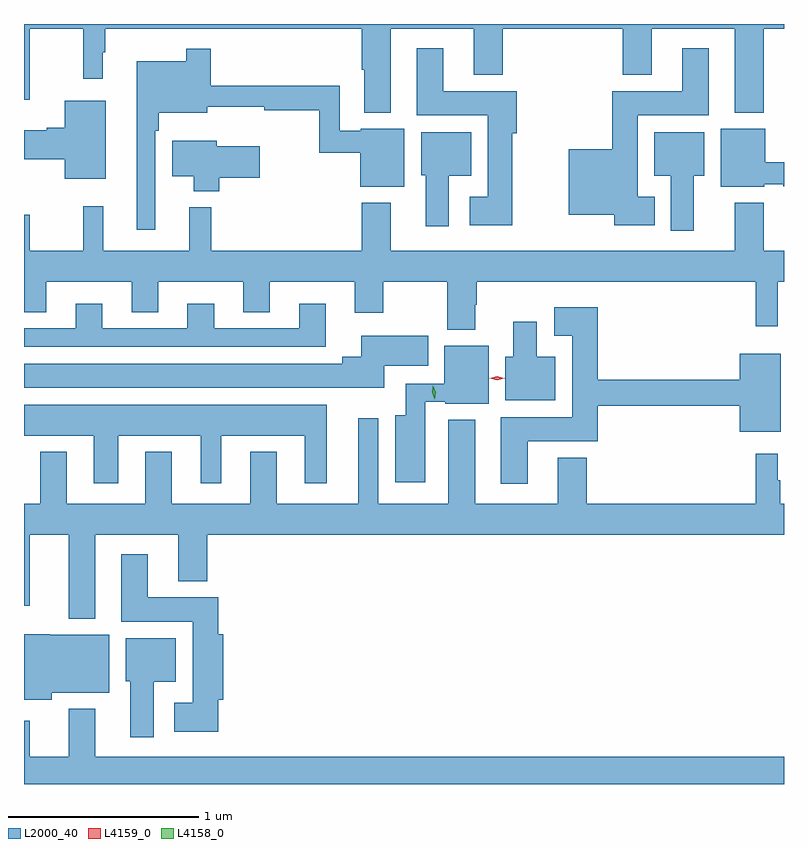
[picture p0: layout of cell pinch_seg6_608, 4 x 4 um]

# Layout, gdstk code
import gdstk
lib = gdstk.Library(unit=1e-6, precision=1e-09)
def P(c, l, *ps):  # polygons
    for p in ps: c.add(gdstk.Polygon(p, *l))
L2000_40 = (2000, 40)
L4158_0 = (4158, 0)
L4159_0 = (4159, 0)

pinch_seg6_608 = lib.new_cell('pinch_seg6_608')
P(pinch_seg6_608, L2000_40, [(488.817,972.27),(488.848,972.27),(488.848,972.644),(489.13,972.644),(489.13,972.381),(489.232,972.381),(489.232,972.521),(489.244,972.521),(489.244,972.644),(490.595,972.644),(490.595,972.427),(490.607,972.427),(490.607,972.203),(490.747,972.203),(490.747,972.644),(491.183,972.644),(491.183,972.401),(491.336,972.401),(491.336,972.644),(491.969,972.644),(491.969,972.401),(492.121,972.401),(492.121,972.644),(492.557,972.644),(492.557,972.203),(492.71,972.203),(492.71,972.644),(492.817,972.644),(492.817,972.669),(488.817,972.669)],
  [(492.136,971.761),(492.046,971.761),(492.046,972.188),(492.421,972.188),(492.421,972.541),(492.281,972.541),(492.281,972.316),(491.912,972.316),(491.912,972.01),(491.684,972.01),(491.684,971.666),(491.924,971.666),(491.924,971.609),(492.136,971.609)],
  [(491.388,972.095),(491.411,972.095),(491.411,972.316),(491.023,972.316),(491.023,972.541),(490.883,972.541),(490.883,972.188),(491.258,972.188),(491.258,971.761),(491.163,971.761),(491.163,971.609),(491.388,971.609)],
  [(489.507,972.107),(489.527,972.107),(489.527,972.203),(489.781,972.203),(489.781,972.233),(490.082,972.233),(490.082,972.214),(490.371,972.214),(490.371,971.992),(490.586,971.992),(490.586,971.813),(490.819,971.813),(490.819,972.118),(490.59,972.118),(490.59,972.108),(490.479,972.108),(490.479,972.343),(489.8,972.343),(489.8,972.538),(489.672,972.538),(489.672,972.472),(489.41,972.472),(489.41,971.586),(489.507,971.586)],
  [(489.247,972.265),(489.032,972.265),(489.032,972.122),(488.936,972.122),(488.936,972.109),(488.817,972.109),(488.817,971.957),(489.032,971.957),(489.032,971.855),(489.247,971.855)],
  [(492.714,971.826),(492.814,971.826),(492.814,971.814),(492.817,971.814),(492.817,971.942),(492.718,971.942),(492.718,972.118),(492.485,972.118),(492.485,971.813),(492.714,971.813)],
  [(492.343,971.87),(492.397,971.87),(492.397,972.1),(492.134,972.1),(492.134,971.87),(492.221,971.87),(492.221,971.58),(492.343,971.58)],
  [(491.053,971.87),(491.17,971.87),(491.17,972.1),(490.907,972.1),(490.907,971.874),(490.931,971.874),(490.931,971.604),(491.053,971.604)],
  [(489.845,971.86),(490.057,971.86),(490.057,972.025),(489.832,972.025),(489.832,972.055),(489.596,972.055),(489.596,971.867),(489.71,971.867),(489.71,971.789),(489.845,971.789)],
  [(491.191,971.192),(491.199,971.192),(491.199,971.312),(492.667,971.312),(492.667,971.079),(492.785,971.079),(492.785,971.312),(492.817,971.312),(492.817,971.476),(492.71,971.476),(492.71,971.728),(492.557,971.728),(492.557,971.476),(490.747,971.476),(490.747,971.728),(490.595,971.728),(490.595,971.476),(489.803,971.476),(489.803,971.704),(489.686,971.704),(489.686,971.476),(489.233,971.476),(489.233,971.71),(489.13,971.71),(489.13,971.476),(488.848,971.476),(488.848,971.665),(488.817,971.665),(488.817,971.152),(488.935,971.152),(488.935,971.312),(489.383,971.312),(489.383,971.152),(489.523,971.152),(489.523,971.312),(489.971,971.312),(489.971,971.152),(490.111,971.152),(490.111,971.312),(490.559,971.312),(490.559,971.148),(490.707,971.148),(490.707,971.312),(491.044,971.312),(491.044,971.06),(491.191,971.06)],
  [(490.405,971.197),(490.265,971.197),(490.265,971.067),(489.817,971.067),(489.817,971.197),(489.677,971.197),(489.677,971.067),(489.229,971.067),(489.229,971.197),(489.089,971.197),(489.089,971.067),(488.817,971.067),(488.817,970.971),(490.405,970.971)],
  [(491.467,970.472),(491.837,970.472),(491.837,970.66),(492.584,970.66),(492.584,970.523),(492.799,970.523),(492.799,970.933),(492.584,970.933),(492.584,970.796),(491.837,970.796),(491.837,971.179),(491.607,971.179),(491.607,971.027),(491.702,971.027),(491.702,970.6),(491.327,970.6),(491.327,970.248),(491.467,970.248)],
  [(491.614,970.918),(491.515,970.918),(491.515,971.101),(491.393,971.101),(491.393,970.918),(491.351,970.918),(491.351,970.688),(491.614,970.688)],
  [(490.714,970.871),(490.945,970.871),(490.945,971.029),(490.592,971.029),(490.592,970.918),(490.493,970.918),(490.493,970.882),(488.817,970.882),(488.817,970.754),(490.714,970.754)],
  [(490.93,970.68),(491.034,970.68),(491.034,970.67),(491.263,970.67),(491.263,970.975),(491.03,970.975),(491.03,970.776),(490.826,970.776),(490.826,970.609),(490.772,970.609),(490.772,970.257),(490.93,970.257)],
  [(489.313,970.502),(489.746,970.502),(489.746,970.251),(489.856,970.251),(489.856,970.502),(490.295,970.502),(490.295,970.251),(490.411,970.251),(490.411,970.666),(488.817,970.666),(488.817,970.502),(489.185,970.502),(489.185,970.251),(489.313,970.251)],
  [(492.817,970.144),(492.796,970.144),(492.796,970.268),(492.784,970.268),(492.784,970.408),(492.667,970.408),(492.667,970.144),(491.78,970.144),(491.78,970.387),(491.627,970.387),(491.627,970.144),(491.191,970.144),(491.191,970.585),(491.051,970.585),(491.051,970.144),(490.681,970.144),(490.681,970.594),(490.577,970.594),(490.577,970.144),(490.147,970.144),(490.147,970.417),(490.007,970.417),(490.007,970.144),(489.595,970.144),(489.595,970.417),(489.455,970.417),(489.455,970.144),(489.043,970.144),(489.043,970.417),(488.903,970.417),(488.903,970.144),(488.817,970.144),(488.817,969.606),(488.848,969.606),(488.848,969.98),(489.053,969.98),(489.053,969.539),(489.193,969.539),(489.193,969.98),(489.629,969.98),(489.629,969.737),(489.782,969.737),(489.782,969.98),(492.817,969.98)],
  [(489.839,969.113),(489.865,969.113),(489.865,969.457),(489.839,969.457),(489.839,969.652),(489.469,969.652),(489.469,969.877),(489.329,969.877),(489.329,969.524),(489.704,969.524),(489.704,969.097),(489.609,969.097),(489.609,968.945),(489.839,968.945)],
  [(488.964,969.149),(489.265,969.149),(489.265,969.454),(488.952,969.454),(488.952,969.457),(488.817,969.457),(488.817,969.113),(488.964,969.113)],
  [(489.499,969.206),(489.616,969.206),(489.616,969.436),(489.353,969.436),(489.353,969.21),(489.377,969.21),(489.377,968.916),(489.499,968.916)],
  [(492.817,968.812),(489.193,968.812),(489.193,969.064),(489.053,969.064),(489.053,968.812),(488.848,968.812),(488.848,969.001),(488.817,969.001),(488.817,968.669),(492.817,968.669)])
P(pinch_seg6_608, L4158_0, [(490.98,970.693),(490.98,970.694),(490.965,970.727),(490.969,970.763),(490.969,970.763),(490.97,970.763),(490.984,970.73),(490.98,970.694)])
P(pinch_seg6_608, L4159_0, [(491.307,970.794),(491.268,970.804),(491.268,970.804),(491.268,970.804),(491.307,970.814),(491.345,970.804),(491.346,970.804),(491.345,970.804)])

lib.write_gds('pinch_seg6_608.gds')
